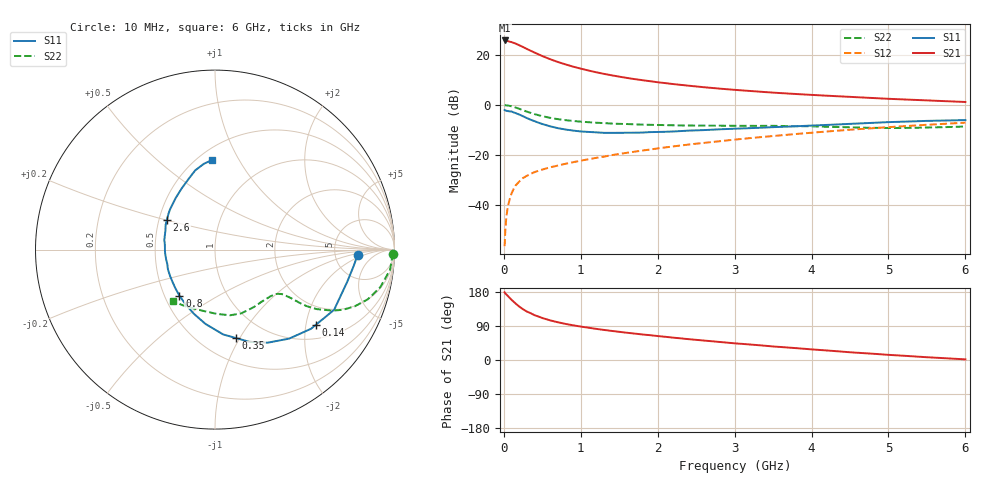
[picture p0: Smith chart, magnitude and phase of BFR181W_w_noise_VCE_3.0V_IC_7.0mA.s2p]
! Infineon Technologies  Discrete & RF Semiconductors
! BFR181W
! VCE =  3.0 V,  IC =  7.0 mA
! Common Emitter S-Parameters:  Jan 2017
# GHz  S  MA  R  50
!  f  S11  S21  S12  S22
! GHz  MAG  ANG  MAG  ANG  MAG  ANG  MAG  ANG
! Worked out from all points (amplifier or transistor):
!   77 points, 10 MHz to 6 GHz, reference 50 ohm
!   highest |S21| = 25.8 dB at 10 MHz (marker M1)
!   |S21| within 3 dB of that: start of sweep to 273.7 MHz
!   unconditionally stable (mu >= 1): 1.146 GHz to 3.166 GHz
!   at 130 MHz: K = 0.21, MSG = 29.1 dB, |S12| = -33.4 dB
!   at 2.2 GHz: K = 1.07, MAG = 10.9 dB, |S12| = -16.6 dB
!   at 6 GHz: K = 0.85, MSG = 4.1 dB, |S12| = -7.1 dB
!   lowest NFmin = 1.08 dB at 450 MHz
!   S11 on the Smith chart (normalised r, x): 10 MHz: 8.60, -1.30; 140 MHz: 1.38, -2.28; 350 MHz: 0.73, -0.97; 800 MHz: 0.60, -0.34; 2.6 GHz: 0.55, +0.20; 6 GHz: 0.59, +0.78
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0.01  0.7959 -2.0  19.6 178.6  0.0015 79.7  0.9945 -1.3
0.02  0.778 -6.7  19.35 175.5  0.0033 91.6  0.9884 -2.4
0.05  0.7587 -13.5  19.06 169.3  0.0088 83.7  0.9817 -6.6
0.1  0.7436 -26.8  18.18 158.8  0.0169 78.6  0.9447 -12.8
0.14  0.7006 -36.8  17.23 151.5  0.0228 72.7  0.9046 -16.9
0.15  0.6935 -39.5  17.04 149.5  0.0243 71.7  0.8954 -18.0
0.2  0.6455 -50.2  15.72 141.0  0.0294 67.9  0.8403 -22.1
0.25  0.5959 -60.5  14.48 133.8  0.0347 63.5  0.7875 -25.2
0.3  0.5482 -69.6  13.23 127.8  0.0384 61.9  0.737 -27.5
0.35  0.5073 -76.5  12.17 123.4  0.042 60.8  0.697 -28.8
0.4  0.4749 -84.5  11.2 118.1  0.0456 59.8  0.6574 -30.3
0.5  0.4175 -97.3  9.542 110.8  0.0511 58.1  0.598 -31.7
0.6  0.3759 -108.4  8.29 104.7  0.0567 58.0  0.5553 -32.2
0.8  0.3244 -127.7  6.516 95.3  0.0667 59.6  0.4988 -32.6
1.1  0.2899 -150.0  4.908 85.2  0.0823 61.4  0.4538 -33.4
1.5  0.2781 -173.2  3.699 74.4  0.1048 63.3  0.4204 -36.2
2.1  0.2918 162.6  2.743 61.2  0.1419 64.1  0.3961 -43.8
2.6  0.3154 148.0  2.273 51.3  0.1748 63.2  0.387 -52.3
3.1  0.3402 135.9  1.962 42.5  0.2104 61.3  0.3838 -60.9
4.1  0.3939 116.9  1.566 26.6  0.2873 55.4  0.3713 -79.0
5.1  0.46 102.6  1.313 12.4  0.369 47.4  0.3473 -104.7
6  0.5005 91.6  1.151 1.6  0.4439 39.0  0.3722 -129.5
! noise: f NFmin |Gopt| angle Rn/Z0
0.45  1.08  0.24  17  0.22
0.9  1.13  0.22  31  0.21
1.9  1.55  0.09  86  0.19
2.4  1.7  0.08  96  0.23
